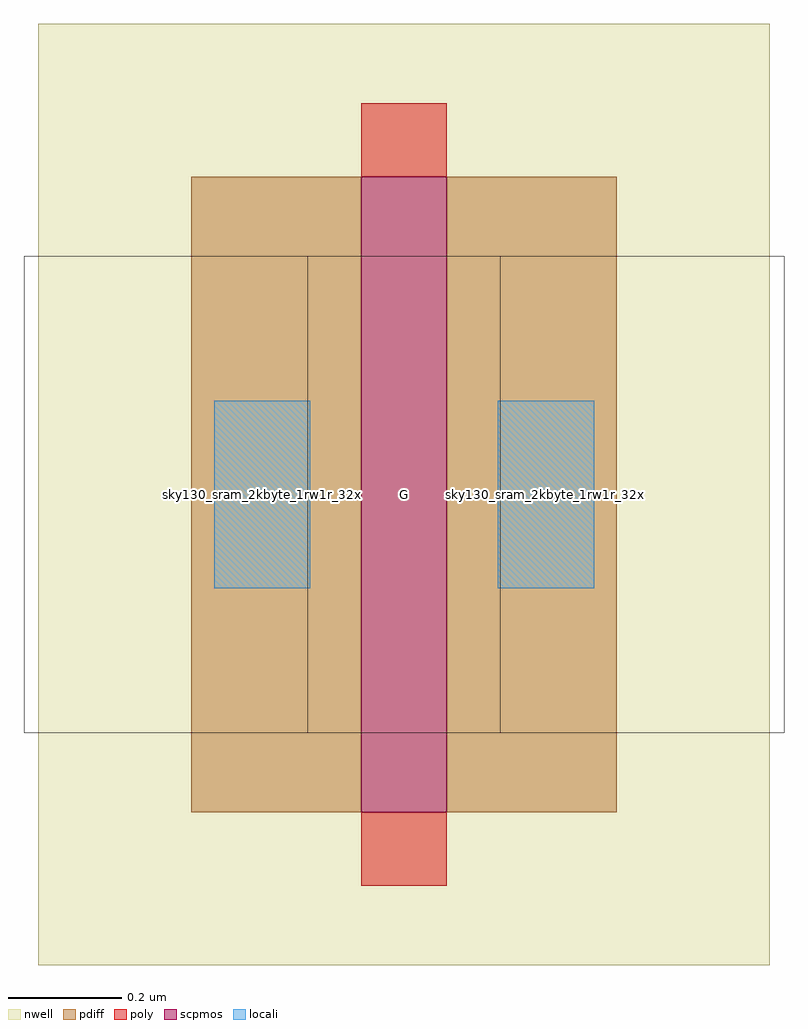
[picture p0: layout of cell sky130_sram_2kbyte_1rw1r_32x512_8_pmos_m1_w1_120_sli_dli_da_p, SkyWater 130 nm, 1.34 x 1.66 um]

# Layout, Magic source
magic
tech sky130A
magscale 1 2
<< nwell >>
rect -54 -54 204 278
<< scpmos >>
rect 60 0 90 224
<< pdiff >>
rect 0 0 60 224
rect 90 0 150 224
<< poly >>
rect 60 224 90 250
rect 60 -26 90 0
<< locali >>
rect 8 79 42 145
rect 108 79 142 145
use sky130_sram_2kbyte_1rw1r_32x512_8_contact_12  sky130_sram_2kbyte_1rw1r_32x512_8_contact_12_1
transform 1 0 0 0 1 79
box -59 -51 109 117
use sky130_sram_2kbyte_1rw1r_32x512_8_contact_12  sky130_sram_2kbyte_1rw1r_32x512_8_contact_12_0
transform 1 0 100 0 1 79
box -59 -51 109 117
<< labels >>
rlabel locali s 25 112 25 112 4 S
rlabel locali s 125 112 125 112 4 D
rlabel poly s 75 112 75 112 4 G
<< properties >>
string FIXED_BBOX -54 -54 204 278
<< end >>
